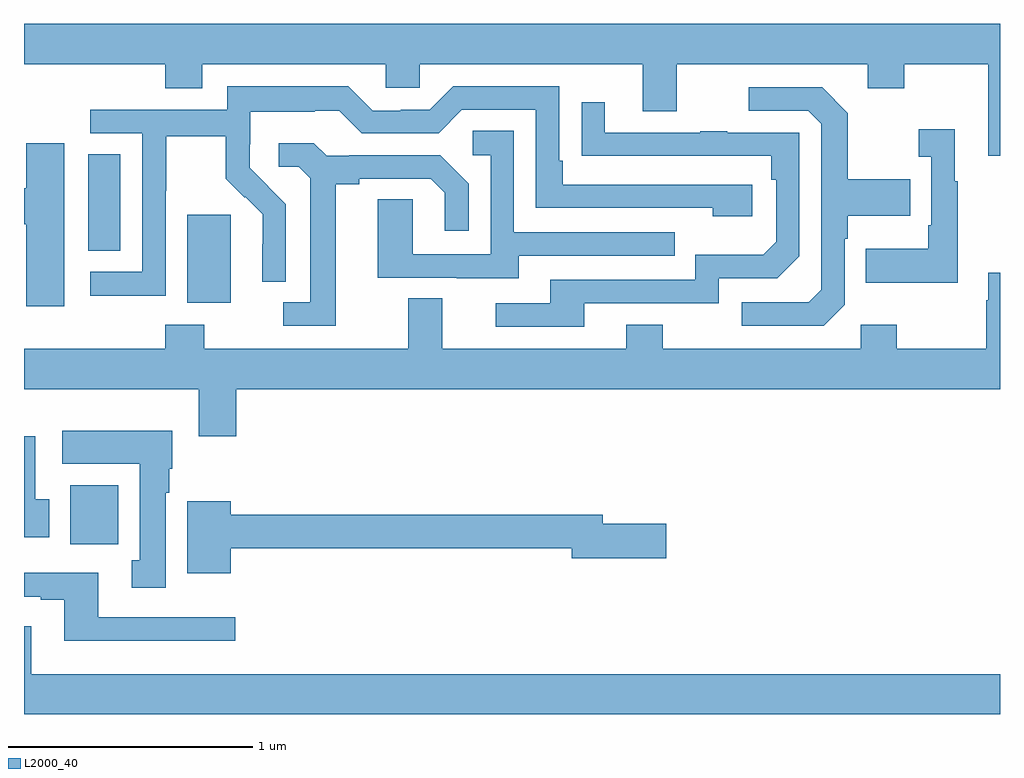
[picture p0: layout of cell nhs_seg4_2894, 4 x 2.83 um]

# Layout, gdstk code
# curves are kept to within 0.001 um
import gdstk
lib = gdstk.Library(unit=1e-6, precision=1e-09)
def R(c, l, rs):  # rectangles x0, y0, x1, y1
    for r in rs: c.add(gdstk.rectangle(r[:2], r[2:], *l))
def P(c, l, *ps):  # polygons
    for p in ps: c.add(gdstk.Polygon(p, *l))
L2000_40 = (2000, 40)

nhs_seg4_2894 = lib.new_cell('nhs_seg4_2894')
R(nhs_seg4_2894, L2000_40, [(263.189,808.172,263.386,808.414), (263.669,809.162,263.848,809.523), (263.264,809.374,263.395,809.771)])
P(nhs_seg4_2894, L2000_40, [(267,810.304),(263,810.304),(263,810.14),(263.579,810.14),(263.579,810.041),(263.731,810.041),(263.731,810.14),(264.483,810.14),(264.483,810.042),(264.621,810.042),(264.621,810.14),(265.535,810.14),(265.535,809.946),(265.675,809.946),(265.675,810.14),(266.459,810.14),(266.459,810.041),(266.607,810.041),(266.607,810.14),(266.951,810.14),(266.951,809.763),(267,809.763)],
  [(263.58,809.62),(263.583,809.62),(263.583,809.844),(263.827,809.844),(263.827,809.669),(263.904,809.592),(263.907,809.595),(263.978,809.525),(263.978,809.402),(263.976,809.402),(263.976,809.248),(264.072,809.248),(264.072,809.566),(263.926,809.714),(263.926,809.811),(263.928,809.811),(263.928,809.945),(264.191,809.945),(264.191,809.949),(264.291,809.949),(264.384,809.856),(264.699,809.856),(264.795,809.952),(265.098,809.952),(265.098,809.55),(265.823,809.55),(265.823,809.516),(265.984,809.516),(265.984,809.646),(265.207,809.646),(265.207,809.743),(265.194,809.743),(265.194,810.048),(264.759,810.048),(264.663,809.952),(264.545,809.952),(264.545,809.949),(264.429,809.949),(264.329,810.049),(263.832,810.049),(263.832,809.952),(263.271,809.952),(263.271,809.856),(263.484,809.856),(263.484,809.289),(263.271,809.289),(263.271,809.191),(263.58,809.191)],
  [(266.364,809.154),(266.364,809.423),(266.377,809.423),(266.377,809.519),(266.633,809.519),(266.633,809.667),(266.377,809.667),(266.377,809.939),(266.271,810.045),(265.971,810.045),(265.971,809.949),(266.214,809.949),(266.268,809.895),(266.268,809.214),(266.217,809.163),(265.941,809.163),(265.941,809.067),(266.277,809.067)],
  [(265.297,809.16),(265.848,809.16),(265.848,809.262),(266.088,809.262),(266.178,809.352),(266.178,809.859),(265.883,809.859),(265.883,809.864),(265.771,809.864),(265.771,809.859),(265.381,809.859),(265.381,809.983),(265.285,809.983),(265.285,809.764),(266.062,809.763),(266.062,809.666),(266.082,809.666),(266.082,809.412),(266.029,809.359),(265.752,809.359),(265.752,809.256),(265.157,809.256),(265.157,809.16),(264.933,809.16),(264.933,809.064),(265.297,809.064)],
  [(266.827,809.659),(266.815,809.659),(266.815,809.872),(266.667,809.872),(266.667,809.759),(266.718,809.759),(266.718,809.479),(266.706,809.479),(266.706,809.383),(266.449,809.383),(266.449,809.243),(266.827,809.243)],
  [(265.027,809.355),(265.667,809.355),(265.667,809.451),(265.008,809.451),(265.008,809.867),(264.84,809.867),(264.84,809.766),(264.912,809.766),(264.912,809.361),(264.594,809.361),(264.594,809.585),(264.449,809.585),(264.449,809.265),(264.773,809.265),(264.773,809.261),(265.027,809.261)],
  [(264.277,809.648),(264.373,809.648),(264.373,809.67),(264.668,809.67),(264.725,809.613),(264.725,809.457),(264.822,809.457),(264.822,809.65),(264.706,809.766),(264.334,809.766),(264.334,809.763),(264.24,809.763),(264.188,809.815),(264.045,809.815),(264.045,809.718),(264.126,809.718),(264.173,809.671),(264.173,809.163),(264.063,809.163),(264.063,809.067),(264.277,809.067)],
  [(263.164,809.815),(263.009,809.815),(263.009,809.63),(263,809.63),(263,809.483),(263.009,809.483),(263.009,809.148),(263.164,809.148)],
  [(263.87,808.808),(267,808.808),(267,809.284),(266.951,809.284),(266.951,809.171),(266.944,809.171),(266.944,808.972),(266.577,808.972),(266.577,809.071),(266.43,809.071),(266.43,808.972),(265.617,808.972),(265.617,809.071),(265.469,809.071),(265.469,808.972),(264.715,808.972),(264.715,809.18),(264.575,809.18),(264.575,808.972),(263.739,808.972),(263.739,809.071),(263.579,809.071),(263.579,808.972),(263,808.972),(263,808.808),(263.717,808.808),(263.717,808.614),(263.87,808.614)],
  [(263.581,808.382),(263.596,808.382),(263.596,808.482),(263.608,808.482),(263.608,808.636),(263.157,808.636),(263.157,808.502),(263.474,808.502),(263.474,808.106),(263.441,808.106),(263.441,807.993),(263.581,807.993)],
  [(263.104,808.356),(263.047,808.356),(263.047,808.615),(263,808.615),(263,808.2),(263.104,808.2)],
  [(263.848,808.156),(265.244,808.156),(265.244,808.114),(265.633,808.114),(265.633,808.256),(265.372,808.256),(265.372,808.292),(263.848,808.292),(263.848,808.348),(263.669,808.348),(263.669,808.052),(263.848,808.052)],
  [(263.866,807.873),(263.305,807.873),(263.305,808.054),(263,808.054),(263,807.957),(263.069,807.957),(263.069,807.945),(263.165,807.945),(263.165,807.776),(263.866,807.776)],
  [(267,807.64),(263.029,807.64),(263.029,807.835),(263,807.835),(263,807.476),(267,807.476)])

lib.write_gds('nhs_seg4_2894.gds')
